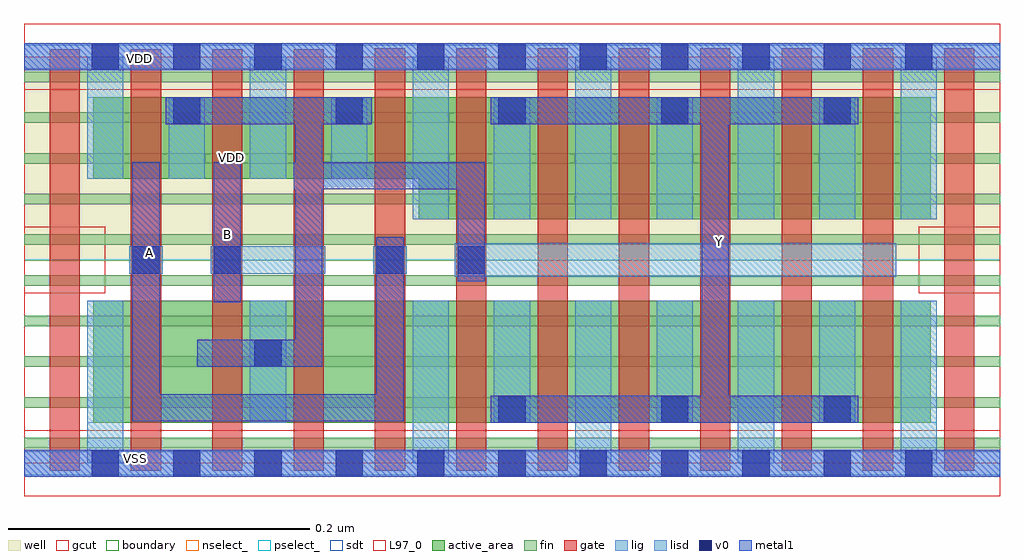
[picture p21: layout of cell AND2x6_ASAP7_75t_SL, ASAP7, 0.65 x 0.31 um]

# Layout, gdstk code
import gdstk
lib = gdstk.Library(unit=1e-6, precision=2.5e-10)
def R(c, l, rs):  # rectangles x0, y0, x1, y1
    for r in rs: c.add(gdstk.rectangle(r[:2], r[2:], *l))
def A(c, l, x, y, w, h, nx, ny, dx, dy):  # array of equal rectangles
    R(c, l, [(x+i*dx, y+j*dy, x+i*dx+w, y+j*dy+h) for i in range(nx) for j in range(ny)])
def P(c, l, *ps):  # polygons
    for p in ps: c.add(gdstk.Polygon(p, *l))
well = (1, 0)
fin = (2, 0)
gate = (7, 0)
gcut = (10, 0)
active_area = (11, 0)
nselect_ = (12, 0)
pselect_ = (13, 0)
lig = (16, 0)
lisd = (17, 0)
v0 = (18, 0)
metal1 = (19, 0)
sdt = (88, 0)
L97_0 = (97, 0)
boundary = (100, 0)

and2x6_asap7_75t_sl = lib.new_cell('AND2x6_ASAP7_75t_SL')
R(and2x6_asap7_75t_sl, well, [(0,0.135,0.648,0.27)])
A(and2x6_asap7_75t_sl, fin, 0, 0.01, 0.648, 0.007, 1, 10, 0, 0.027)
A(and2x6_asap7_75t_sl, gate, 0.017, -0.005, 0.02, 0.28, 4, 1, 0.054, 0)
A(and2x6_asap7_75t_sl, gate, 0.233, -0.005, 0.02, 0.2805, 8, 1, 0.054, 0)
R(and2x6_asap7_75t_sl, gcut, [(0,-0.022,0.648,0.022), (0,0.113,0.054,0.157), (0.594,0.113,0.648,0.157), (0,0.248,0.648,0.292)])
R(and2x6_asap7_75t_sl, active_area, [(0.046,0.027,0.602,0.108)])
P(and2x6_asap7_75t_sl, active_area, [(0.602,0.243),(0.046,0.243),(0.046,0.189),(0.262,0.189),(0.262,0.162),(0.602,0.162)])
R(and2x6_asap7_75t_sl, nselect_, [(0,0,0.648,0.135)])
R(and2x6_asap7_75t_sl, pselect_, [(0,0.135,0.648,0.27)])
R(and2x6_asap7_75t_sl, lig, [(0,-0.008,0.648,0.008), (0.286,0.124,0.579,0.146), (0.07,0.126,0.092,0.144), (0.124,0.126,0.2,0.144), (0.232,0.126,0.254,0.144), (0,0.262,0.648,0.278)])
A(and2x6_asap7_75t_sl, lisd, 0.258, 0, 0.024, 0.108, 4, 2, 0.108, 0.162)
A(and2x6_asap7_75t_sl, lisd, 0.312, 0.027, 0.024, 0.081, 3, 2, 0.108, 0.135)
R(and2x6_asap7_75t_sl, lisd, [(0.042,0,0.066,0.108), (0.15,0.027,0.174,0.108), (0.042,0.189,0.066,0.27), (0.096,0.189,0.12,0.243), (0.15,0.189,0.174,0.27), (0.204,0.189,0.228,0.243)])
A(and2x6_asap7_75t_sl, v0, 0.045, -0.009, 0.018, 0.018, 11, 2, 0.054, 0.27)
A(and2x6_asap7_75t_sl, v0, 0.315, 0.027, 0.018, 0.018, 3, 1, 0.108, 0)
A(and2x6_asap7_75t_sl, v0, 0.099, 0.225, 0.018, 0.018, 5, 1, 0.108, 0)
R(and2x6_asap7_75t_sl, v0, [(0.153,0.064,0.171,0.082), (0.072,0.126,0.09,0.144), (0.126,0.126,0.144,0.144), (0.234,0.126,0.252,0.144), (0.288,0.126,0.306,0.144)])
R(and2x6_asap7_75t_sl, metal1, [(0,-0.009,0.648,0.009), (0.126,0.107,0.144,0.2), (0,0.261,0.648,0.279)])
P(and2x6_asap7_75t_sl, metal1, [(0.306,0.2),(0.198,0.2),(0.198,0.225),(0.231,0.225),(0.231,0.243),(0.094,0.243),(0.094,0.225),(0.18,0.225),(0.18,0.2),(0.179,0.2),(0.179,0.182),(0.18,0.182),(0.18,0.082),(0.115,0.082),(0.115,0.064),(0.198,0.064),(0.198,0.182),(0.288,0.182),(0.288,0.121),(0.306,0.121)],
  [(0.554,0.045),(0.468,0.045),(0.468,0.225),(0.554,0.225),(0.554,0.243),(0.31,0.243),(0.31,0.225),(0.45,0.225),(0.45,0.045),(0.31,0.045),(0.31,0.027),(0.554,0.027)],
  [(0.252,0.15),(0.234,0.15),(0.234,0.046),(0.09,0.046),(0.09,0.2),(0.072,0.2),(0.072,0.028),(0.252,0.028)])
A(and2x6_asap7_75t_sl, sdt, 0.042, 0.027, 0.024, 0.081, 3, 1, 0.108, 0)
A(and2x6_asap7_75t_sl, sdt, 0.312, 0.027, 0.024, 0.081, 6, 1, 0.054, 0)
A(and2x6_asap7_75t_sl, sdt, 0.258, 0.162, 0.024, 0.081, 7, 1, 0.054, 0)
A(and2x6_asap7_75t_sl, sdt, 0.042, 0.189, 0.024, 0.054, 4, 1, 0.054, 0)
R(and2x6_asap7_75t_sl, L97_0, [(0,0,0.648,0.27)])
R(and2x6_asap7_75t_sl, boundary, [(0,0,0.648,0.27)])
and2x6_asap7_75t_sl.add(gdstk.Label('Y', (0.4615,0.1475), layer=19, texttype=251))
and2x6_asap7_75t_sl.add(gdstk.Label('B', (0.135,0.152), layer=19, texttype=251))
and2x6_asap7_75t_sl.add(gdstk.Label('VDD', (0.077,0.269), layer=19, texttype=251))
and2x6_asap7_75t_sl.add(gdstk.Label('VSS', (0.074,0.003), layer=19, texttype=251))
and2x6_asap7_75t_sl.add(gdstk.Label('A', (0.083,0.14), layer=19, texttype=251))
and2x6_asap7_75t_sl.add(gdstk.Label('VDD', (0.138,0.203), layer=1, texttype=251))
and2x6_asap7_75t_sl.add(gdstk.Label('VSS', (0.467,-0.05), layer=3, texttype=251))

lib.write_gds('AND2x6_ASAP7_75t_SL.gds')
